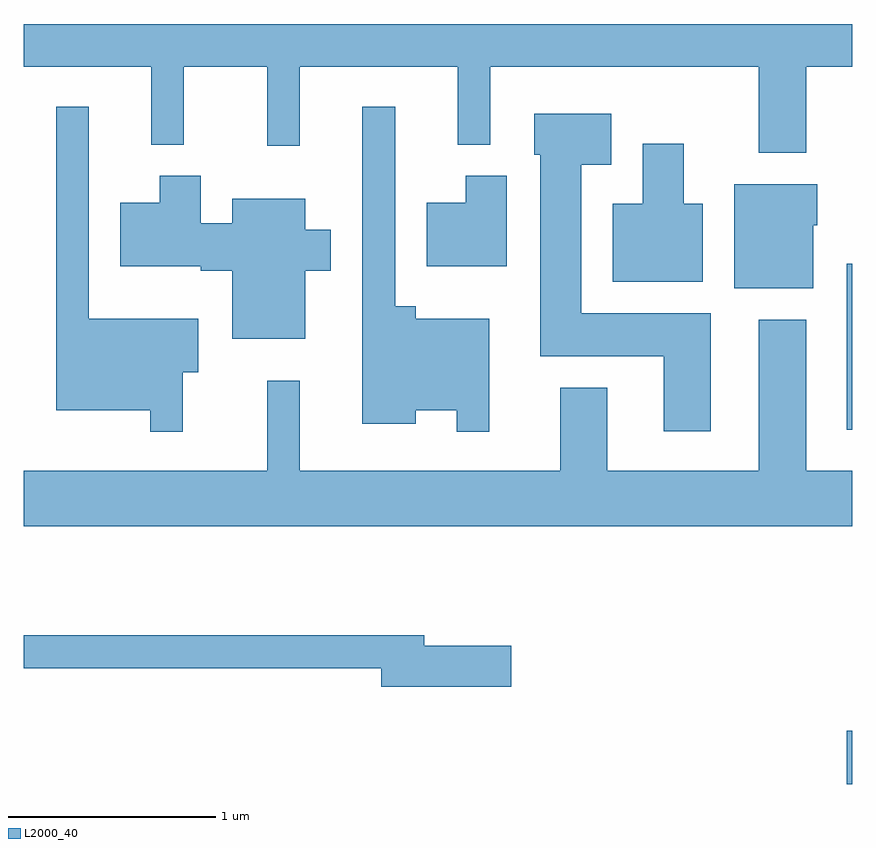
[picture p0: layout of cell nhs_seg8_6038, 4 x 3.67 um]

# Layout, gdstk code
import gdstk
lib = gdstk.Library(unit=1e-6, precision=1e-09)
def R(c, l, rs):  # rectangles x0, y0, x1, y1
    for r in rs: c.add(gdstk.rectangle(r[:2], r[2:], *l))
def P(c, l, *ps):  # polygons
    for p in ps: c.add(gdstk.Polygon(p, *l))
L2000_40 = (2000, 40)

nhs_seg8_6038 = lib.new_cell('nhs_seg8_6038')
R(nhs_seg8_6038, L2000_40, [(369.586,1890.671,369.611,1890.929), (369.586,1892.381,369.611,1893.184)])
P(nhs_seg8_6038, L2000_40, [(369.389,1894.136),(369.611,1894.136),(369.611,1894.342),(365.611,1894.342),(365.611,1894.136),(366.226,1894.136),(366.226,1893.758),(366.384,1893.758),(366.384,1894.136),(366.786,1894.136),(366.786,1893.753),(366.944,1893.753),(366.944,1894.136),(367.706,1894.136),(367.706,1893.758),(367.864,1893.758),(367.864,1894.136),(369.161,1894.136),(369.161,1893.721),(369.389,1893.721)],
  [(367.859,1892.919),(367.504,1892.919),(367.504,1892.979),(367.404,1892.979),(367.404,1893.943),(367.246,1893.943),(367.246,1892.411),(367.504,1892.411),(367.504,1892.476),(367.701,1892.476),(367.701,1892.373),(367.859,1892.373)],
  [(366.379,1892.661),(366.454,1892.661),(366.454,1892.919),(365.924,1892.919),(365.924,1893.943),(365.766,1893.943),(365.766,1892.476),(366.221,1892.476),(366.221,1892.373),(366.379,1892.373)],
  [(368.929,1892.944),(368.304,1892.944),(368.304,1893.661),(368.449,1893.661),(368.449,1893.909),(368.076,1893.909),(368.076,1893.711),(368.106,1893.711),(368.106,1892.736),(368.701,1892.736),(368.701,1892.376),(368.929,1892.376)],
  [(368.889,1893.474),(368.799,1893.474),(368.799,1893.764),(368.601,1893.764),(368.601,1893.474),(368.456,1893.474),(368.456,1893.096),(368.889,1893.096)],
  [(367.944,1893.609),(367.746,1893.609),(367.746,1893.479),(367.556,1893.479),(367.556,1893.171),(367.944,1893.171)],
  [(366.969,1893.151),(367.094,1893.151),(367.094,1893.349),(366.969,1893.349),(366.969,1893.499),(366.616,1893.499),(366.616,1893.379),(366.464,1893.379),(366.464,1893.609),(366.266,1893.609),(366.266,1893.479),(366.076,1893.479),(366.076,1893.171),(366.466,1893.171),(366.466,1893.151),(366.616,1893.151),(366.616,1892.821),(366.969,1892.821)],
  [(369.424,1893.371),(369.444,1893.371),(369.444,1893.569),(369.041,1893.569),(369.041,1893.066),(369.424,1893.066)],
  [(369.611,1892.184),(369.389,1892.184),(369.389,1892.914),(369.161,1892.914),(369.161,1892.184),(368.429,1892.184),(368.429,1892.584),(368.201,1892.584),(368.201,1892.184),(366.944,1892.184),(366.944,1892.618),(366.786,1892.618),(366.786,1892.184),(365.611,1892.184),(365.611,1891.916),(369.611,1891.916)],
  [(367.964,1891.339),(367.544,1891.339),(367.544,1891.389),(365.611,1891.389),(365.611,1891.231),(367.336,1891.231),(367.336,1891.141),(367.964,1891.141)])

lib.write_gds('nhs_seg8_6038.gds')
